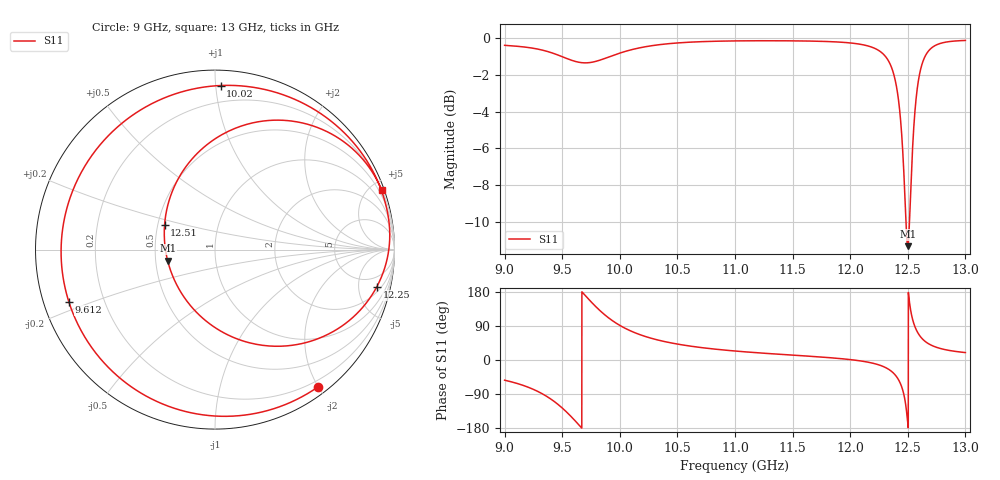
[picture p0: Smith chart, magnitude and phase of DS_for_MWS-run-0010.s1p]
! TOUCHSTONE file generated by CST DESIGN STUDIO
! Date and time: Tue Feb  4 13:09:13 2025
! Project name: C:\Work\MatlabApps\UnitCellOptimizationMatlab\CST\unitcell.cst
! Tree item: Tasks\Sweep1\SPara1\S-Parameters
! Header version: 2024
! Port assignment regex: !\s*Touchstone port\s*([0-9]+)\s*=\s*(CST MWS port|CST DES external port|CST DES block port)\s*(.+)\s* \(\"(.*)\"\)(\s*mode\s*([0-9]+))?.*
! Touchstone port assignment:
! Touchstone port 1 = CST DES external port 1 ("")
# GHz S MA R 50
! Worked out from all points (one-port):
!   4001 points, 9 GHz to 13 GHz, reference 50 ohm
!   lowest |S11| = -11.3 dB at 12.5 GHz (marker M1), VSWR 1.74, Z = 28.9 - j3.89 ohm
!   |S11| at or under -10 dB: 12.48404 GHz to 12.51464 GHz (30.6 MHz wide, 0.245 % of centre)
!   S11 on the Smith chart (normalised r, x): 9 GHz: 0.11, -1.99; 9.612 GHz: 0.07, -0.17; 10.02 GHz: 0.09, +1.03; 12.25 GHz: 2.74, -7.85; 12.51 GHz: 0.54, +0.17; 13 GHz: 0.24, +5.78
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9  0.9563 -53.3
9.172  0.9462 -68.2
9.325  0.9284 -88.8
9.419  0.9102 -106.8
9.5  0.8904 -126.6
9.612  0.8646 -160.4
9.708  0.8566 167.5
9.818  0.8694 133.1
9.903  0.8884 111.1
10  0.9107 91.3
10.019  0.9147 88.1
10.231  0.9489 61.1
10.5  0.9707 42.0
11  0.9832 23.7
11.5  0.9835 12.9
12  0.9707 1.1
12.25  0.9248 -13.0
12.359  0.832 -30.1
12.398  0.749 -42.2
12.432  0.6243 -59.5
12.466  0.4283 -91.2
12.5  0.2709 -166.7
12.514  0.3127 154.0
12.556  0.5969 92.8
12.6  0.7916 65.6
12.656  0.8996 47.8
12.729  0.9518 35.7
13  0.986 19.6
